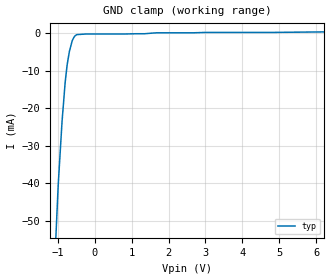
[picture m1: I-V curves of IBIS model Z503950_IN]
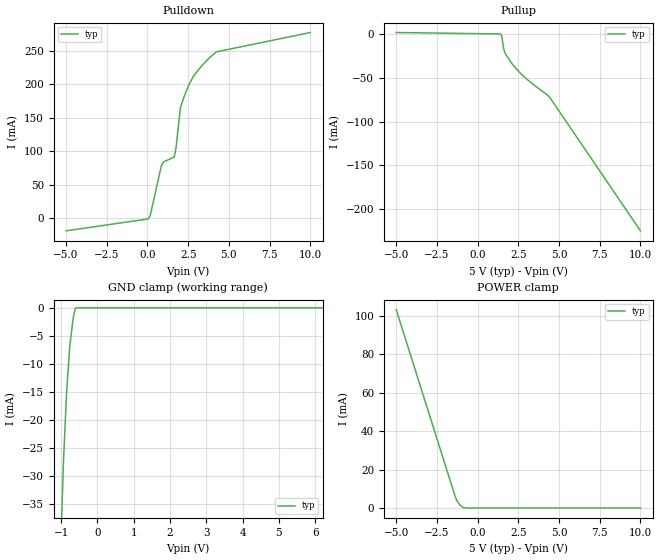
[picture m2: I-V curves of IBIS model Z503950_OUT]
| YOU ARE ONLY AUTHORIZED TO USE THIS SOFTWARE
| ACCORDING TO LICENSOR'S LICENSE RESTRICTIONS.
[IBIS Ver] 3.1
[File Name] mc74f02d.ibs
[File Rev] 2.0
[Source] Measured and created by ICX Technology
[Date] Friday 7/14/00 9:08:03 AM
[Copyright]
| (C) COPYRIGHT 1993-2000
| MENTOR GRAPHICS CORPORATION
| ICX STANDARD LIBRARY, ICX PROJECT MODELING,
| ICX CUSTOM MODELING, ICX VENDOR MODEL
| ALL RIGHTS RESERVED.
| THE FOLLOWING ARE TRADEMARKS OR SERVICE MARKS OF
| MENTOR GRAPHICS CORPORATION:ICX (R), ICX STANDARD
| LIBRARY(R), ICX PROJECT MODELING(R), ICX CUSTOM
| MODELING(R), qualityIBIS(TM), MODELVIEWER(TM),
| AND MODELEDITOR(TM)
| ALL COPIES OF SOFTWARE, INCLUDING BUT NOT LIMITED TO
| ANY MODIFICATIONS, ENHANCEMENTS OR DERIVATIVE WORKS,
| MUST CONTAIN ALL MENTOR GRAPHICS CORPORATION'S
| NOTICES AND LEGENDS, INCLUDING THOSE EMBEDDED IN
| SOFTWARE AND THOSE AFFIXED TO SOFTWARE MEDIUM
| AND CONTAINER, AS RECEIVED FROM MENTOR GRAPHICS
| CORPORATION.
|  ZAP Model Builder 2.7
[Component] MC74F02D
[Manufacturer] OnSemiconductor
[Package]
| variable   typ   min   max
R_pkg  .155ohms NA NA
L_pkg  3.028nH NA NA
C_pkg  .381pF NA NA
[Pin] signal_name  model_name  R_pin  L_pin C_pin
1 Y Z503950_OUT .16 3.587n .407p
2 A Z503950_IN .156 3.147n .387p
3 B Z503950_IN .152 2.717n .367p
4 Y Z503950_OUT .148 2.297n .347p
5 A Z503950_IN .152 2.717n .367p
6 B Z503950_IN .156 3.147n .387p
7 GROUND GND .16 3.587n .407p
8 A Z503950_IN .16 3.587n .407p
9 B Z503950_IN .156 3.147n .387p
10 Y Z503950_OUT .152 2.717n .367p
11 A Z503950_IN .148 2.297n .347p
12 B Z503950_IN .152 2.717n .367p
13 Y Z503950_OUT .156 3.147n .387p
14 VCC POWER .16 3.587n .407p
| Models and submodels in the file (2): Z503950_IN (Input), Z503950_OUT (Output)
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| (C) COPYRIGHT 1993-2000
| MENTOR GRAPHICS CORPORATION
| ICX STANDARD LIBRARY, ICX PROJECT MODELING,
| ICX CUSTOM MODELING, ICX VENDOR MODEL
| ALL RIGHTS RESERVED.
| THE FOLLOWING ARE TRADEMARKS OR SERVICE MARKS OF
| MENTOR GRAPHICS CORPORATION:ICX (R), ICX STANDARD
| LIBRARY(R), ICX PROJECT MODELING(R), ICX CUSTOM
| MODELING(R), qualityIBIS(TM), MODELVIEWER(TM),
| AND MODELEDITOR(TM)
| ALL COPIES OF SOFTWARE, INCLUDING BUT NOT LIMITED TO
| ANY MODIFICATIONS, ENHANCEMENTS OR DERIVATIVE WORKS,
| MUST CONTAIN ALL MENTOR GRAPHICS CORPORATION'S
| NOTICES AND LEGENDS, INCLUDING THOSE EMBEDDED IN
| SOFTWARE AND THOSE AFFIXED TO SOFTWARE MEDIUM
| AND CONTAINER, AS RECEIVED FROM MENTOR GRAPHICS
| CORPORATION.
| Model Application Version 1.89 2/18/99.
[Model] Z503950_IN
Model_type Input
Vinl = 800.0mV
Vinh = 2.000V
C_comp 4.000pF NA NA
| variable typ   min   max
[Voltage Range] 5.000V NA NA
[GND Clamp Reference] 0.000V NA NA
[POWER Clamp Reference] 5.000V NA NA
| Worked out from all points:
|   GND clamp passes 1 mA (typ) near -0.56 V on its own axis
[GND Clamp]
-5V       -1.171A    NA         NA
-1.177V   -82.77mA   NA         NA
-985.6mV  -40.46mA   NA         NA
-881.6mV  -23.52mA   NA         NA
-795.7mV  -12.9mA    NA         NA
-742.2mV  -8.299mA   NA         NA
-683.4mV  -4.839mA   NA         NA
-607.5mV  -2.007mA   NA         NA
-532mV    -670.4uA   NA         NA
-488.1mV  -363.8uA   NA         NA
1.685V    158.4uA    NA         NA
10V       779.8uA    NA         NA
[POWER Clamp]
-5V       0A         NA         NA
10V       0A         NA         NA
| (C) COPYRIGHT 1993-2000
| MENTOR GRAPHICS CORPORATION
| ICX STANDARD LIBRARY, ICX PROJECT MODELING,
| ICX CUSTOM MODELING, ICX VENDOR MODEL
| ALL RIGHTS RESERVED.
| THE FOLLOWING ARE TRADEMARKS OR SERVICE MARKS OF
| MENTOR GRAPHICS CORPORATION:ICX (R), ICX STANDARD
| LIBRARY(R), ICX PROJECT MODELING(R), ICX CUSTOM
| MODELING(R), qualityIBIS(TM), MODELVIEWER(TM),
| AND MODELEDITOR(TM)
| ALL COPIES OF SOFTWARE, INCLUDING BUT NOT LIMITED TO
| ANY MODIFICATIONS, ENHANCEMENTS OR DERIVATIVE WORKS,
| MUST CONTAIN ALL MENTOR GRAPHICS CORPORATION'S
| NOTICES AND LEGENDS, INCLUDING THOSE EMBEDDED IN
| SOFTWARE AND THOSE AFFIXED TO SOFTWARE MEDIUM
| AND CONTAINER, AS RECEIVED FROM MENTOR GRAPHICS
| CORPORATION.
| Model Application Version 1.89 2/18/99.
[Model] Z503950_OUT
Model_type Output
Vref=0.000V
Rref=500.0ohms
Cref=50.00pF
Vmeas=1.500V
C_comp 8.000pF NA NA
| variable typ   min   max
[Voltage Range] 5.000V NA NA
[POWER Clamp Reference] 5.000V NA NA
[Pullup Reference] 5.000V NA NA
[Pulldown Reference] 0.000V NA NA
[GND Clamp Reference] 0.000V NA NA
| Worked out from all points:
|   slope of the pulldown table from 0 to 0.75 V, typ, clamps not added: 11 ohm
|   slope of the pullup table from 0 to 0.75 V, typ, clamps not added: 5.14 kohm
|   GND clamp passes 1 mA (typ) near -0.64 V on its own axis
|   POWER clamp passes 1 mA (typ) near -1.00 V on its own axis
[GND Clamp]
-5V       -1.537A    NA         NA
-1.23V    -102.2mA   NA         NA
-1.084V   -58.05mA   NA         NA
-936.3mV  -27.69mA   NA         NA
-848.3mV  -15.1mA    NA         NA
-760.5mV  -6.787mA   NA         NA
-663.6mV  -1.704mA   NA         NA
-605.6mV  -34.73uA   NA         NA
-484.5mV  0A         NA         NA
10V       0A         NA         NA
[Pulldown]
-5V       -18.77mA   NA         NA
68.36mV   -626.5uA   NA         NA
219.7mV   9.237mA    NA         NA
859.3mV   79.06mA    NA         NA
1.645V    91.47mA    NA         NA
1.753V    104.9mA    NA         NA
2.022V    164.4mA    NA         NA
2.393V    190.2mA    NA         NA
2.812V    211.2mA    NA         NA
3.14V     221.7mA    NA         NA
4.209V    247.9mA    NA         NA
10V       276.9mA    NA         NA
[Pullup]
-5V       1.539mA    NA         NA
1.42V     -591.5uA   NA         NA
1.494V    -3.865mA   NA         NA
1.582V    -15.26mA   NA         NA
1.637V    -19.57mA   NA         NA
1.812V    -25.92mA   NA         NA
2.1V      -33.88mA   NA         NA
2.49V     -42.3mA    NA         NA
2.939V    -50.44mA   NA         NA
4.398V    -71.64mA   NA         NA
10V       -224.7mA   NA         NA
[POWER Clamp]
-5V       103.1mA    NA         NA
-1.366V   5.646mA    NA         NA
-1.25V    3.512mA    NA         NA
-1.149V   2.221mA    NA         NA
-1.073V   1.502mA    NA         NA
-874mV    186.5uA    NA         NA
-815mV    131.4uA    NA         NA
-543.3mV  0A         NA         NA
10V       0A         NA         NA
[Ramp]
| variable typ min max
dV/dt_r 2.042/2.782n NA NA
dV/dt_f 2.042/416.3p NA NA
R_load = 500.0Ohms
